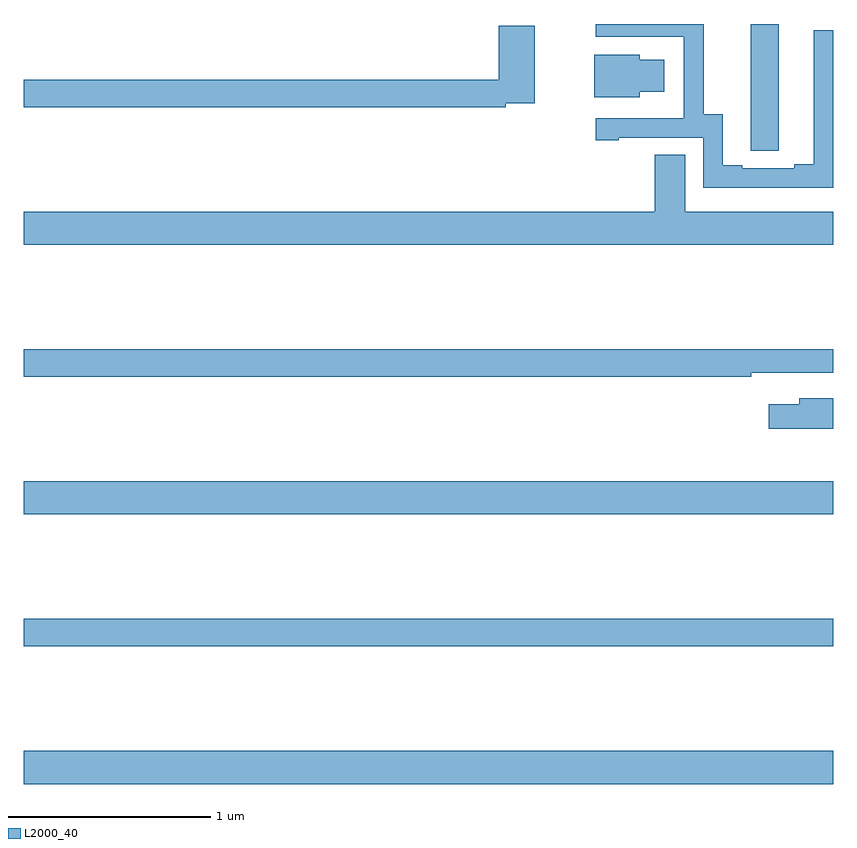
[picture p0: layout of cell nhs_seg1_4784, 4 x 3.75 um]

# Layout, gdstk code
import gdstk
lib = gdstk.Library(unit=1e-6, precision=1e-09)
def R(c, l, rs):  # rectangles x0, y0, x1, y1
    for r in rs: c.add(gdstk.rectangle(r[:2], r[2:], *l))
def P(c, l, *ps):  # polygons
    for p in ps: c.add(gdstk.Polygon(p, *l))
L2000_40 = (2000, 40)

nhs_seg1_4784 = lib.new_cell('nhs_seg1_4784')
R(nhs_seg1_4784, L2000_40, [(371,506.444,375,506.608), (371,507.124,375,507.26), (371,507.776,375,507.94)])
P(nhs_seg1_4784, L2000_40, [(375,510.167),(374.903,510.167),(374.903,509.507),(374.807,509.507),(374.807,509.487),(374.551,509.487),(374.551,509.502),(374.455,509.502),(374.455,509.753),(374.361,509.753),(374.361,510.199),(373.827,510.199),(373.827,510.135),(374.262,510.135),(374.262,509.734),(374.261,509.734),(374.261,509.733),(373.827,509.733),(373.827,509.625),(373.939,509.625),(373.939,509.637),(374.358,509.637),(374.358,509.391),(375,509.391)],
  [(374.731,510.199),(374.591,510.199),(374.591,509.68),(374.592,509.68),(374.592,509.572),(374.731,509.572)],
  [(373.382,509.808),(373.524,509.808),(373.524,510.19),(373.346,510.19),(373.346,509.924),(371,509.924),(371,509.788),(373.382,509.788)],
  [(374.043,509.864),(374.164,509.864),(374.164,510.022),(374.043,510.022),(374.043,510.046),(373.82,510.046),(373.82,509.837),(374.043,509.837)],
  [(375,509.272),(374.269,509.272),(374.269,509.552),(374.117,509.552),(374.117,509.272),(371,509.272),(371,509.108),(375,509.108)],
  [(374.594,508.476),(375,508.476),(375,508.592),(371,508.592),(371,508.456),(374.594,508.456)],
  [(375,508.35),(374.831,508.35),(374.831,508.321),(374.682,508.321),(374.682,508.199),(375,508.199)])

lib.write_gds('nhs_seg1_4784.gds')
